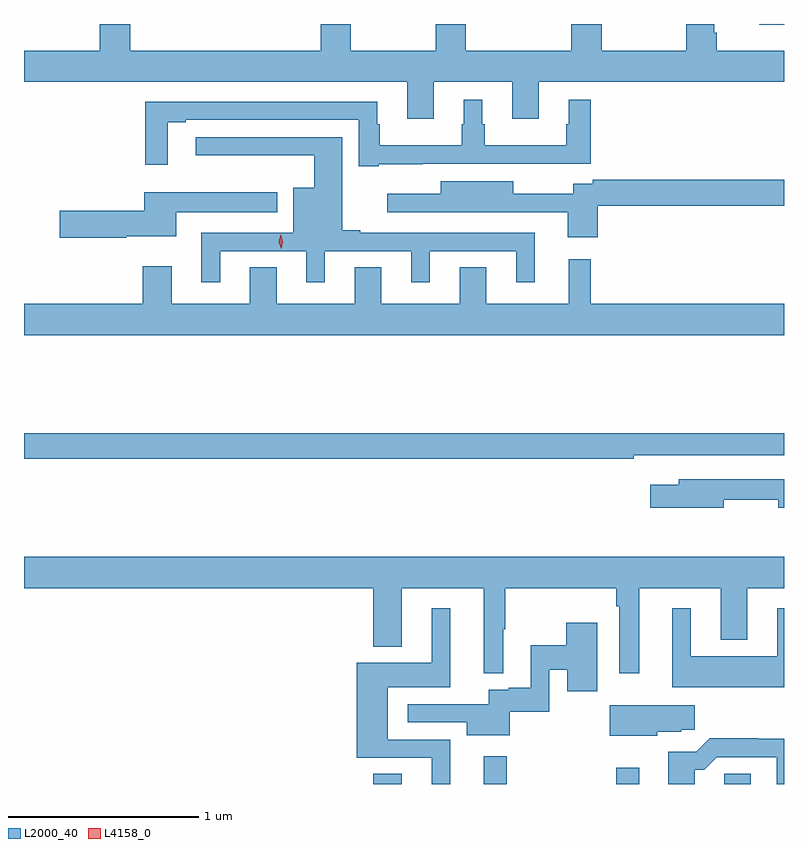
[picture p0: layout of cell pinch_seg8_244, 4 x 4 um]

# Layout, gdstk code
import gdstk
lib = gdstk.Library(unit=1e-6, precision=1e-09)
def R(c, l, rs):  # rectangles x0, y0, x1, y1
    for r in rs: c.add(gdstk.rectangle(r[:2], r[2:], *l))
def P(c, l, *ps):  # polygons
    for p in ps: c.add(gdstk.Polygon(p, *l))
L2000_40 = (2000, 40)
L4158_0 = (4158, 0)

pinch_seg8_244 = lib.new_cell('pinch_seg8_244')
R(pinch_seg8_244, L2000_40, [(817.001,1118.133,817.153,1118.186), (817.583,1118.133,817.705,1118.278), (818.28,1118.133,818.401,1118.218), (818.85,1118.133,818.989,1118.186), (819.033,1122.128,819.164,1122.133)])
P(pinch_seg8_244, L2000_40, [(817.321,1121.828),(817.733,1121.828),(817.733,1121.634),(817.873,1121.634),(817.873,1121.828),(819.164,1121.828),(819.164,1121.992),(818.81,1121.992),(818.81,1122.088),(818.797,1122.088),(818.797,1122.133),(818.65,1122.133),(818.65,1121.992),(818.205,1121.992),(818.205,1122.133),(818.045,1122.133),(818.045,1121.992),(817.49,1121.992),(817.49,1122.133),(817.33,1122.133),(817.33,1121.992),(816.885,1121.992),(816.885,1122.133),(816.725,1122.133),(816.725,1121.992),(815.723,1121.992),(815.723,1122.133),(815.563,1122.133),(815.563,1121.992),(815.164,1121.992),(815.164,1121.828),(817.181,1121.828),(817.181,1121.634),(817.321,1121.634)],
  [(817.03,1121.396),(817.262,1121.396),(817.262,1121.397),(818.147,1121.397),(818.147,1121.734),(818.03,1121.734),(818.03,1121.606),(818.019,1121.606),(818.019,1121.494),(817.588,1121.494),(817.588,1121.606),(817.576,1121.606),(817.576,1121.734),(817.478,1121.734),(817.478,1121.606),(817.467,1121.606),(817.467,1121.494),(817.036,1121.494),(817.036,1121.606),(817.024,1121.606),(817.024,1121.724),(815.803,1121.724),(815.803,1121.391),(815.92,1121.391),(815.92,1121.616),(816.016,1121.616),(816.016,1121.628),(816.927,1121.628),(816.927,1121.385),(817.03,1121.385)],
  [(816.196,1120.938),(816.65,1120.938),(816.65,1120.773),(816.748,1120.773),(816.748,1120.938),(817.202,1120.938),(817.202,1120.773),(817.3,1120.773),(817.3,1120.938),(817.754,1120.938),(817.754,1120.773),(817.853,1120.773),(817.853,1121.034),(816.934,1121.034),(816.934,1121.047),(816.838,1121.047),(816.838,1121.538),(816.069,1121.538),(816.069,1121.441),(816.692,1121.441),(816.692,1121.272),(816.581,1121.272),(816.581,1121.034),(816.098,1121.034),(816.098,1120.773),(816.196,1120.773)],
  [(818.183,1121.176),(819.164,1121.176),(819.164,1121.312),(818.158,1121.312),(818.158,1121.292),(818.054,1121.292),(818.054,1121.239),(817.738,1121.239),(817.738,1121.305),(817.358,1121.305),(817.358,1121.239),(817.077,1121.239),(817.077,1121.142),(818.027,1121.142),(818.027,1121.01),(818.183,1121.01)],
  [(815.702,1121.015),(815.965,1121.015),(815.965,1121.141),(816.496,1121.141),(816.496,1121.248),(815.798,1121.248),(815.798,1121.15),(815.352,1121.15),(815.352,1121.008),(815.702,1121.008)],
  [(819.164,1120.66),(818.147,1120.66),(818.147,1120.894),(818.03,1120.894),(818.03,1120.66),(817.597,1120.66),(817.597,1120.853),(817.457,1120.853),(817.457,1120.66),(817.045,1120.66),(817.045,1120.853),(816.905,1120.853),(816.905,1120.66),(816.493,1120.66),(816.493,1120.853),(816.353,1120.853),(816.353,1120.66),(815.941,1120.66),(815.941,1120.858),(815.789,1120.858),(815.789,1120.66),(815.164,1120.66),(815.164,1120.496),(819.164,1120.496)],
  [(818.372,1119.864),(819.164,1119.864),(819.164,1119.98),(815.164,1119.98),(815.164,1119.844),(818.372,1119.844)],
  [(818.848,1119.63),(819.134,1119.63),(819.134,1119.587),(819.164,1119.587),(819.164,1119.738),(818.609,1119.738),(818.609,1119.709),(818.46,1119.709),(818.46,1119.587),(818.848,1119.587)],
  [(817.686,1118.947),(817.697,1118.947),(817.697,1119.164),(818.28,1119.164),(818.28,1119.068),(818.297,1119.068),(818.297,1118.715),(818.401,1118.715),(818.401,1119.164),(818.831,1119.164),(818.831,1118.891),(818.971,1118.891),(818.971,1119.164),(819.164,1119.164),(819.164,1119.328),(815.164,1119.328),(815.164,1119.164),(817.001,1119.164),(817.001,1118.855),(817.153,1118.855),(817.153,1119.164),(817.583,1119.164),(817.583,1118.715),(817.686,1118.715)],
  [(817.408,1118.367),(817.078,1118.367),(817.078,1118.642),(817.408,1118.642),(817.408,1119.058),(817.31,1119.058),(817.31,1118.77),(816.914,1118.77),(816.914,1118.271),(817.31,1118.271),(817.31,1118.133),(817.408,1118.133)],
  [(819.164,1119.058),(819.128,1119.058),(819.128,1118.806),(818.674,1118.806),(818.674,1119.058),(818.576,1119.058),(818.576,1118.642),(819.164,1118.642)],
  [(817.72,1118.512),(817.929,1118.512),(817.929,1118.734),(818.024,1118.734),(818.024,1118.622),(818.182,1118.622),(818.182,1118.983),(818.017,1118.983),(818.017,1118.863),(817.832,1118.863),(817.832,1118.639),(817.716,1118.639),(817.716,1118.628),(817.61,1118.628),(817.61,1118.553),(817.185,1118.553),(817.185,1118.457),(817.493,1118.457),(817.493,1118.39),(817.72,1118.39)],
  [(818.496,1118.408),(818.622,1118.408),(818.622,1118.419),(818.695,1118.419),(818.695,1118.548),(818.246,1118.548),(818.246,1118.387),(818.496,1118.387)],
  [(818.695,1118.207),(818.744,1118.207),(818.811,1118.274),(819.125,1118.274),(819.125,1118.133),(819.164,1118.133),(819.164,1118.372),(819.029,1118.372),(819.029,1118.375),(818.774,1118.375),(818.703,1118.304),(818.555,1118.304),(818.555,1118.133),(818.695,1118.133)])
P(pinch_seg8_244, L4158_0, [(816.518,1120.951),(816.518,1120.951),(816.506,1120.986),(816.514,1121.023),(816.514,1121.023),(816.514,1121.023),(816.526,1120.987),(816.518,1120.951)])

lib.write_gds('pinch_seg8_244.gds')
